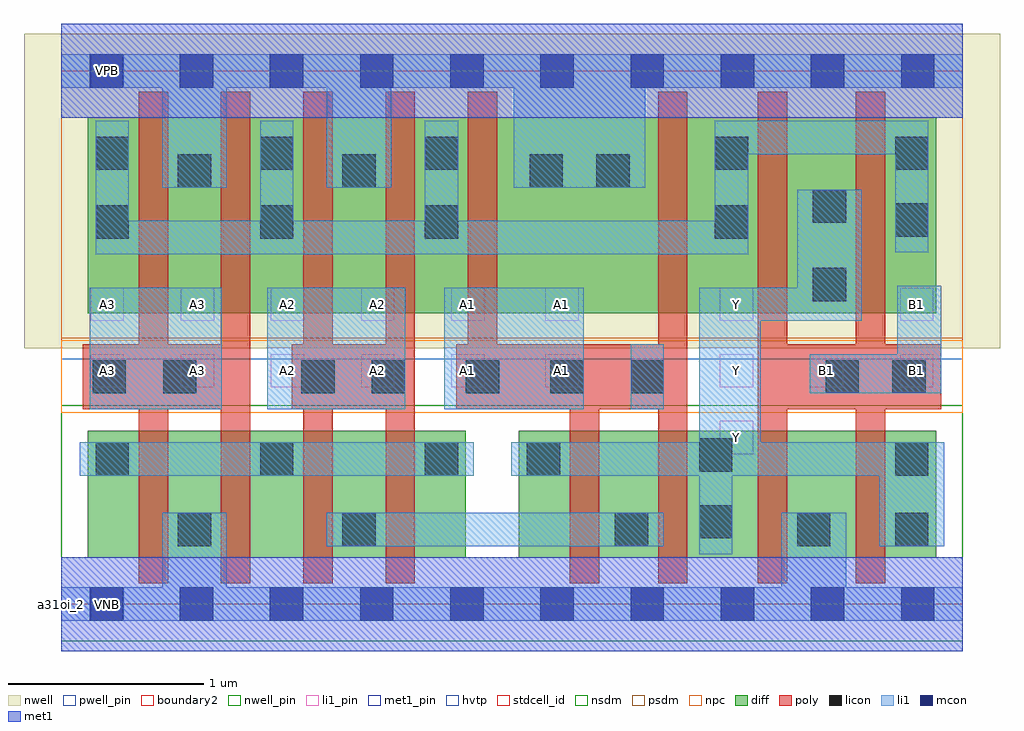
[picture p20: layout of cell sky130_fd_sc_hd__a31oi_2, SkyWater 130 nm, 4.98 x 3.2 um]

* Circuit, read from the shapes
.subckt sky130_fd_sc_hd__a31oi_2 A1 A2 A3 B1 VGND VNB VPB VPWR Y
XM1 VGND A3 n1 VNB sky130_fd_pr__nfet_01v8 w=0.65 l=0.15 m=2
XM2 n2 A2 n1 VNB sky130_fd_pr__nfet_01v8 w=0.65 l=0.15 m=2
XM3 n2 A1 Y VNB sky130_fd_pr__nfet_01v8 w=0.65 l=0.15 m=2
XM4 VGND B1 Y VNB sky130_fd_pr__nfet_01v8 w=0.65 l=0.15 m=2
XM5 VPWR A3 n3 VPB sky130_fd_pr__pfet_01v8_hvt w=1 l=0.15 m=2
XM6 VPWR A2 n3 VPB sky130_fd_pr__pfet_01v8_hvt w=1 l=0.15 m=2
XM7 VPWR A1 n3 VPB sky130_fd_pr__pfet_01v8_hvt w=1 l=0.15 m=2
XM8 Y B1 n3 VPB sky130_fd_pr__pfet_01v8_hvt w=1 l=0.15 m=2
.ends

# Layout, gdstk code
import gdstk
lib = gdstk.Library(unit=1e-6, precision=1e-09)
def R(c, l, rs):  # rectangles x0, y0, x1, y1
    for r in rs: c.add(gdstk.rectangle(r[:2], r[2:], *l))
def A(c, l, x, y, w, h, nx, ny, dx, dy):  # array of equal rectangles
    R(c, l, [(x+i*dx, y+j*dy, x+i*dx+w, y+j*dy+h) for i in range(nx) for j in range(ny)])
def P(c, l, *ps):  # polygons
    for p in ps: c.add(gdstk.Polygon(p, *l))
nwell_pin = (64, 16)
nwell = (64, 20)
diff = (65, 20)
poly = (66, 20)
licon = (66, 44)
li1_pin = (67, 16)
li1 = (67, 20)
mcon = (67, 44)
met1_pin = (68, 16)
met1 = (68, 20)
hvtp = (78, 44)
stdcell_id = (81, 4)
nsdm = (93, 44)
psdm = (94, 20)
npc = (95, 20)
pwell_pin = (122, 16)
boundary2 = (236, 0)

sky130_fd_sc_hd__a31oi_2 = lib.new_cell('sky130_fd_sc_hd__a31oi_2')
R(sky130_fd_sc_hd__a31oi_2, nwell_pin, [(0.15,2.635,0.32,2.805)])
R(sky130_fd_sc_hd__a31oi_2, nwell, [(-0.19,1.305,4.79,2.91)])
R(sky130_fd_sc_hd__a31oi_2, diff, [(0.135,0.235,2.065,0.885), (2.335,0.235,4.465,0.885), (0.135,1.485,4.465,2.485)])
P(sky130_fd_sc_hd__a31oi_2, poly, [(4.49,1.325),(4.205,1.325),(4.205,2.615),(4.055,2.615),(4.055,1.325),(3.705,1.325),(3.705,2.615),(3.555,2.615),(3.555,0.105),(3.705,0.105),(3.705,0.995),(4.055,0.995),(4.055,0.105),(4.205,0.105),(4.205,0.995),(4.49,0.995)],
  [(0.965,2.615),(0.815,2.615),(0.815,1.325),(0.545,1.325),(0.545,2.615),(0.395,2.615),(0.395,1.325),(0.11,1.325),(0.11,0.995),(0.395,0.995),(0.395,0.105),(0.545,0.105),(0.545,0.995),(0.815,0.995),(0.815,0.105),(0.965,0.105)],
  [(3.195,2.615),(3.045,2.615),(3.045,1.325),(2.225,1.325),(2.225,2.615),(2.075,2.615),(2.075,1.325),(2.015,1.325),(2.015,0.995),(2.595,0.995),(2.595,0.105),(2.745,0.105),(2.745,0.995),(3.045,0.995),(3.045,0.105),(3.195,0.105)],
  [(1.805,2.615),(1.655,2.615),(1.655,1.325),(1.385,1.325),(1.385,2.615),(1.235,2.615),(1.235,1.325),(1.175,1.325),(1.175,0.995),(1.235,0.995),(1.235,0.105),(1.385,0.105),(1.385,0.995),(1.655,0.995),(1.655,0.105),(1.805,0.105)])
A(sky130_fd_sc_hd__a31oi_2, licon, 0.175, 0.655, 0.17, 0.17, 3, 2, 0.84, 1.21)
A(sky130_fd_sc_hd__a31oi_2, licon, 0.175, 2.215, 0.17, 0.17, 3, 1, 0.84, 0)
R(sky130_fd_sc_hd__a31oi_2, licon, [(0.595,0.295,0.765,0.465), (1.435,0.295,1.605,0.465), (2.825,0.295,2.995,0.465), (3.755,0.295,3.925,0.465), (4.255,0.295,4.425,0.465), (3.255,0.335,3.425,0.505), (2.375,0.655,2.545,0.825), (4.255,0.655,4.425,0.825), (3.255,0.675,3.425,0.845), (0.16,1.075,0.33,1.245), (0.52,1.075,0.69,1.245), (1.225,1.075,1.395,1.245), (1.585,1.075,1.755,1.245), (2.065,1.075,2.235,1.245), (2.495,1.075,2.665,1.245), (2.905,1.075,3.075,1.245), (3.9,1.075,4.07,1.245), (4.24,1.075,4.41,1.245), (3.835,1.545,4.005,1.715), (3.335,1.865,3.505,2.035), (4.255,1.875,4.425,2.045), (3.835,1.945,4.005,2.115), (0.595,2.125,0.765,2.295), (1.435,2.125,1.605,2.295), (2.39,2.125,2.56,2.295), (2.73,2.125,2.9,2.295), (3.335,2.215,3.505,2.385), (4.255,2.215,4.425,2.385)])
A(sky130_fd_sc_hd__a31oi_2, li1_pin, 0.15, 1.105, 0.17, 0.17, 5, 2, 0.46, 0.34)
A(sky130_fd_sc_hd__a31oi_2, li1_pin, 3.36, 1.105, 0.17, 0.17, 3, 1, 0.46, 0)
R(sky130_fd_sc_hd__a31oi_2, li1_pin, [(3.36,0.765,3.53,0.935), (2.47,1.105,2.64,1.275), (2.47,1.445,2.64,1.615), (3.36,1.445,3.53,1.615), (4.28,1.445,4.45,1.615)])
R(sky130_fd_sc_hd__a31oi_2, li1, [(1.355,0.295,3.075,0.465), (0.095,0.655,2.105,0.825), (0.145,0.995,0.82,1.615), (1.05,0.995,1.755,1.615), (1.955,0.995,2.665,1.615), (2.905,0.995,3.075,1.325)])
P(sky130_fd_sc_hd__a31oi_2, li1, [(4.49,1.625),(4.265,1.625),(4.265,1.275),(3.82,1.275),(3.82,1.075),(4.49,1.075)],
  [(4.6,0.085),(4.005,0.085),(4.005,0.465),(3.675,0.465),(3.675,0.085),(0.845,0.085),(0.845,0.465),(0.515,0.465),(0.515,0.085),(0,0.085),(0,-0.085),(4.6,-0.085)],
  [(4.425,2.465),(3.335,2.465),(3.335,1.955),(2.025,1.955),(2.025,2.465),(1.855,2.465),(1.855,1.955),(1.185,1.955),(1.185,2.465),(1.015,2.465),(1.015,1.955),(0.345,1.955),(0.345,2.465),(0.175,2.465),(0.175,1.785),(3.505,1.785),(3.505,2.295),(4.255,2.295),(4.255,1.795),(4.425,1.795)],
  [(4.505,0.825),(3.57,0.825),(3.57,1.445),(4.085,1.445),(4.085,2.115),(3.755,2.115),(3.755,1.615),(3.255,1.615),(3.255,0.825),(2.295,0.825),(2.295,0.655),(3.255,0.655),(3.255,0.255),(3.425,0.255),(3.425,0.655),(4.175,0.655),(4.175,0.295),(4.505,0.295)],
  [(4.6,2.805),(0,2.805),(0,2.635),(0.515,2.635),(0.515,2.125),(0.845,2.125),(0.845,2.635),(1.355,2.635),(1.355,2.125),(1.685,2.125),(1.685,2.635),(2.31,2.635),(2.31,2.125),(2.98,2.125),(2.98,2.635),(4.6,2.635)])
A(sky130_fd_sc_hd__a31oi_2, mcon, 0.145, -0.085, 0.17, 0.17, 10, 2, 0.46, 2.72)
R(sky130_fd_sc_hd__a31oi_2, met1_pin, [(0.15,-0.085,0.32,0.085), (0.15,2.635,0.32,2.805)])
R(sky130_fd_sc_hd__a31oi_2, hvtp, [(0,1.25,4.6,2.72)])
R(sky130_fd_sc_hd__a31oi_2, stdcell_id, [(0,0,4.6,2.72)])
R(sky130_fd_sc_hd__a31oi_2, nsdm, [(0,-0.19,4.6,1.015)])
R(sky130_fd_sc_hd__a31oi_2, psdm, [(0,1.355,4.6,2.91)])
R(sky130_fd_sc_hd__a31oi_2, npc, [(0,0.975,4.6,1.345)])
R(sky130_fd_sc_hd__a31oi_2, pwell_pin, [(0.15,-0.085,0.32,0.085)])
R(sky130_fd_sc_hd__a31oi_2, boundary2, [(0,0,4.6,2.72)])
sky130_fd_sc_hd__a31oi_2.add(gdstk.FlexPath([(0,0),(4.6,0)], 0.48, ends="flush", simple_path=True, layer=68, datatype=20))  # met1
sky130_fd_sc_hd__a31oi_2.add(gdstk.FlexPath([(0,2.72),(4.6,2.72)], 0.48, ends="flush", simple_path=True, layer=68, datatype=20))  # met1
sky130_fd_sc_hd__a31oi_2.add(gdstk.Label('A3', (0.695,1.19), layer=67, texttype=5))
sky130_fd_sc_hd__a31oi_2.add(gdstk.Label('B1', (3.905,1.19), layer=67, texttype=5))
sky130_fd_sc_hd__a31oi_2.add(gdstk.Label('B1', (4.365,1.19), layer=67, texttype=5))
sky130_fd_sc_hd__a31oi_2.add(gdstk.Label('Y', (3.445,1.19), layer=67, texttype=5))
sky130_fd_sc_hd__a31oi_2.add(gdstk.Label('Y', (3.445,1.53), layer=67, texttype=5))
sky130_fd_sc_hd__a31oi_2.add(gdstk.Label('B1', (4.365,1.53), layer=67, texttype=5))
sky130_fd_sc_hd__a31oi_2.add(gdstk.Label('A1', (2.555,1.53), layer=67, texttype=5))
sky130_fd_sc_hd__a31oi_2.add(gdstk.Label('A1', (2.075,1.53), layer=67, texttype=5))
sky130_fd_sc_hd__a31oi_2.add(gdstk.Label('A1', (2.075,1.19), layer=67, texttype=5))
sky130_fd_sc_hd__a31oi_2.add(gdstk.Label('Y', (3.445,0.85), layer=67, texttype=5))
sky130_fd_sc_hd__a31oi_2.add(gdstk.Label('A2', (1.615,1.53), layer=67, texttype=5))
sky130_fd_sc_hd__a31oi_2.add(gdstk.Label('A2', (1.155,1.19), layer=67, texttype=5))
sky130_fd_sc_hd__a31oi_2.add(gdstk.Label('A2', (1.155,1.53), layer=67, texttype=5))
sky130_fd_sc_hd__a31oi_2.add(gdstk.Label('A1', (2.555,1.19), layer=67, texttype=5))
sky130_fd_sc_hd__a31oi_2.add(gdstk.Label('A3', (0.695,1.53), layer=67, texttype=5))
sky130_fd_sc_hd__a31oi_2.add(gdstk.Label('A3', (0.235,1.53), layer=67, texttype=5))
sky130_fd_sc_hd__a31oi_2.add(gdstk.Label('A3', (0.235,1.19), layer=67, texttype=5))
sky130_fd_sc_hd__a31oi_2.add(gdstk.Label('A2', (1.615,1.19), layer=67, texttype=5))
sky130_fd_sc_hd__a31oi_2.add(gdstk.Label('VNB', (0.235,0), layer=64, texttype=59))
sky130_fd_sc_hd__a31oi_2.add(gdstk.Label('VPB', (0.235,2.72), layer=64, texttype=5))
sky130_fd_sc_hd__a31oi_2.add(gdstk.Label('VPWR', (0.235,2.72), layer=68, texttype=5))
sky130_fd_sc_hd__a31oi_2.add(gdstk.Label('VGND', (0.23,0), layer=68, texttype=5))
sky130_fd_sc_hd__a31oi_2.add(gdstk.Label('a31oi_2', (0,0), layer=83, texttype=44))

lib.write_gds('sky130_fd_sc_hd__a31oi_2.gds')
